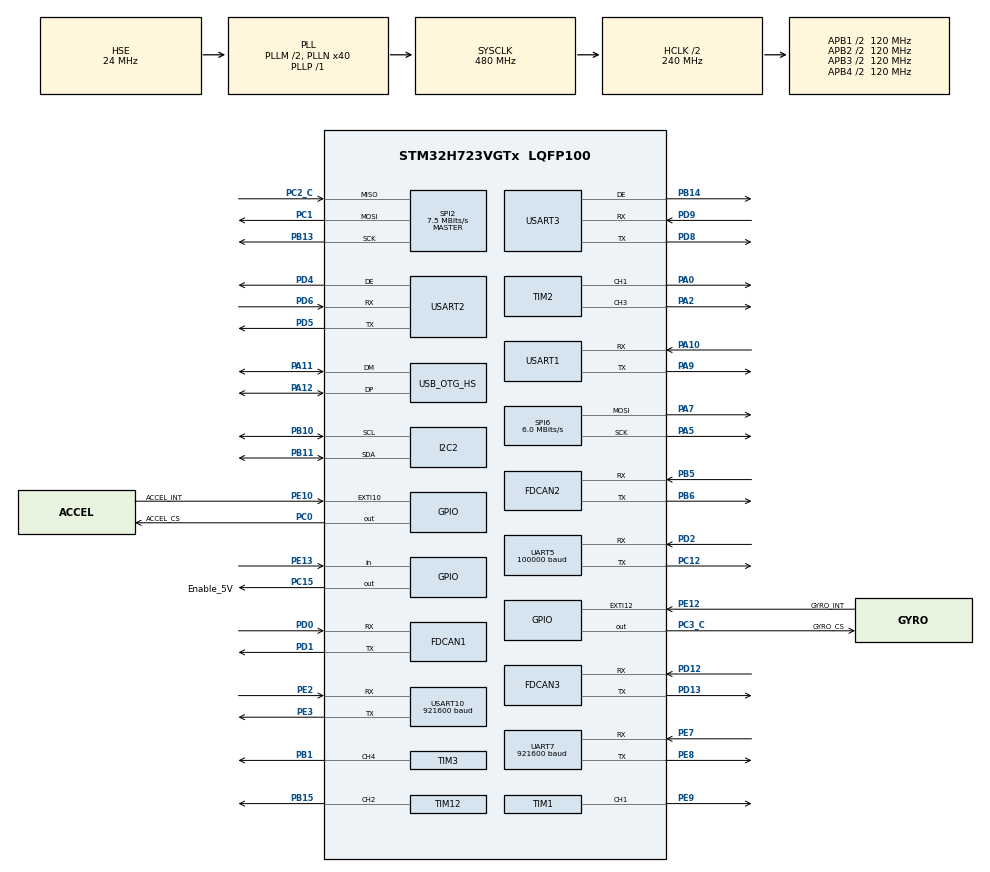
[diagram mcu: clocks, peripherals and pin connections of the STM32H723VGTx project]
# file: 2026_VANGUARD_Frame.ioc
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CORTEX_M7.AccessPermission_Spec=MPU_REGION_FULL_ACCESS
CORTEX_M7.BaseAddress_Spec=0x24000000
CORTEX_M7.CPU_DCache=Disabled
CORTEX_M7.CPU_ICache=Disabled
CORTEX_M7.DisableExec_Spec=MPU_INSTRUCTION_ACCESS_ENABLE
CORTEX_M7.IsShareable_Spec=MPU_ACCESS_NOT_SHAREABLE
CORTEX_M7.MPU_Control=MPU_PRIVILEGED_DEFAULT
CORTEX_M7.Size_Spec=MPU_REGION_SIZE_512KB
CORTEX_M7.SubRegionDisable_Spec=0x0
CORTEX_M7.TypeExtField_Spec=MPU_TEX_LEVEL1
CORTEX_M7.default_mode_Activation=0
Dma.Request0=UART7_RX
Dma.Request1=UART7_TX
Dma.Request2=SPI2_RX
Dma.Request3=SPI2_TX
Dma.Request4=UART5_RX
Dma.Request5=USART1_RX
Dma.Request6=USART1_TX
Dma.Request7=USART10_RX
Dma.SPI2_RX.2.Direction=DMA_PERIPH_TO_MEMORY
Dma.SPI2_RX.2.EventEnable=DISABLE
Dma.SPI2_RX.2.FIFOMode=DMA_FIFOMODE_DISABLE
Dma.SPI2_RX.2.Instance=DMA1_Stream2
Dma.SPI2_RX.2.MemDataAlignment=DMA_MDATAALIGN_BYTE
Dma.SPI2_RX.2.MemInc=DMA_MINC_ENABLE
Dma.SPI2_RX.2.Mode=DMA_NORMAL
Dma.SPI2_RX.2.PeriphDataAlignment=DMA_PDATAALIGN_BYTE
Dma.SPI2_RX.2.PeriphInc=DMA_PINC_DISABLE
Dma.SPI2_RX.2.Polarity=HAL_DMAMUX_REQ_GEN_RISING
Dma.SPI2_RX.2.Priority=DMA_PRIORITY_MEDIUM
Dma.SPI2_RX.2.RequestNumber=1
Dma.SPI2_RX.2.SignalID=NONE
Dma.SPI2_RX.2.SyncEnable=DISABLE
Dma.SPI2_RX.2.SyncPolarity=HAL_DMAMUX_SYNC_NO_EVENT
Dma.SPI2_RX.2.SyncRequestNumber=1
Dma.SPI2_RX.2.SyncSignalID=NONE
Dma.SPI2_TX.3.Direction=DMA_MEMORY_TO_PERIPH
Dma.SPI2_TX.3.EventEnable=DISABLE
Dma.SPI2_TX.3.FIFOMode=DMA_FIFOMODE_DISABLE
Dma.SPI2_TX.3.Instance=DMA1_Stream3
Dma.SPI2_TX.3.MemDataAlignment=DMA_MDATAALIGN_BYTE
Dma.SPI2_TX.3.MemInc=DMA_MINC_ENABLE
Dma.SPI2_TX.3.Mode=DMA_NORMAL
Dma.SPI2_TX.3.PeriphDataAlignment=DMA_PDATAALIGN_BYTE
Dma.SPI2_TX.3.PeriphInc=DMA_PINC_DISABLE
Dma.SPI2_TX.3.Polarity=HAL_DMAMUX_REQ_GEN_RISING
Dma.SPI2_TX.3.Priority=DMA_PRIORITY_LOW
Dma.SPI2_TX.3.RequestNumber=1
Dma.SPI2_TX.3.SignalID=NONE
Dma.SPI2_TX.3.SyncEnable=DISABLE
Dma.SPI2_TX.3.SyncPolarity=HAL_DMAMUX_SYNC_NO_EVENT
Dma.SPI2_TX.3.SyncRequestNumber=1
Dma.SPI2_TX.3.SyncSignalID=NONE
Dma.UART5_RX.4.Direction=DMA_PERIPH_TO_MEMORY
Dma.UART5_RX.4.EventEnable=DISABLE
Dma.UART5_RX.4.FIFOMode=DMA_FIFOMODE_DISABLE
Dma.UART5_RX.4.Instance=DMA1_Stream4
Dma.UART5_RX.4.MemDataAlignment=DMA_MDATAALIGN_BYTE
Dma.UART5_RX.4.MemInc=DMA_MINC_ENABLE
Dma.UART5_RX.4.Mode=DMA_NORMAL
Dma.UART5_RX.4.PeriphDataAlignment=DMA_PDATAALIGN_BYTE
Dma.UART5_RX.4.PeriphInc=DMA_PINC_DISABLE
Dma.UART5_RX.4.Polarity=HAL_DMAMUX_REQ_GEN_RISING
Dma.UART5_RX.4.Priority=DMA_PRIORITY_LOW
Dma.UART5_RX.4.RequestNumber=1
Dma.UART5_RX.4.SignalID=NONE
Dma.UART5_RX.4.SyncEnable=DISABLE
Dma.UART5_RX.4.SyncPolarity=HAL_DMAMUX_SYNC_NO_EVENT
Dma.UART5_RX.4.SyncRequestNumber=1
Dma.UART5_RX.4.SyncSignalID=NONE
Dma.UART7_RX.0.Direction=DMA_PERIPH_TO_MEMORY
Dma.UART7_RX.0.EventEnable=DISABLE
Dma.UART7_RX.0.FIFOMode=DMA_FIFOMODE_DISABLE
Dma.UART7_RX.0.Instance=DMA1_Stream0
Dma.UART7_RX.0.MemDataAlignment=DMA_MDATAALIGN_BYTE
Dma.UART7_RX.0.MemInc=DMA_MINC_ENABLE
Dma.UART7_RX.0.Mode=DMA_NORMAL
Dma.UART7_RX.0.PeriphDataAlignment=DMA_PDATAALIGN_BYTE
Dma.UART7_RX.0.PeriphInc=DMA_PINC_DISABLE
Dma.UART7_RX.0.Polarity=HAL_DMAMUX_REQ_GEN_RISING
Dma.UART7_RX.0.Priority=DMA_PRIORITY_LOW
Dma.UART7_RX.0.RequestNumber=1
Dma.UART7_RX.0.SignalID=NONE
Dma.UART7_RX.0.SyncEnable=DISABLE
Dma.UART7_RX.0.SyncPolarity=HAL_DMAMUX_SYNC_NO_EVENT
Dma.UART7_RX.0.SyncRequestNumber=1
Dma.UART7_RX.0.SyncSignalID=NONE
Dma.UART7_TX.1.Direction=DMA_MEMORY_TO_PERIPH
Dma.UART7_TX.1.EventEnable=DISABLE
Dma.UART7_TX.1.FIFOMode=DMA_FIFOMODE_DISABLE
Dma.UART7_TX.1.Instance=DMA1_Stream1
Dma.UART7_TX.1.MemDataAlignment=DMA_MDATAALIGN_BYTE
Dma.UART7_TX.1.MemInc=DMA_MINC_ENABLE
Dma.UART7_TX.1.Mode=DMA_NORMAL
Dma.UART7_TX.1.PeriphDataAlignment=DMA_PDATAALIGN_BYTE
Dma.UART7_TX.1.PeriphInc=DMA_PINC_DISABLE
Dma.UART7_TX.1.Polarity=HAL_DMAMUX_REQ_GEN_RISING
Dma.UART7_TX.1.Priority=DMA_PRIORITY_LOW
Dma.UART7_TX.1.RequestNumber=1
Dma.UART7_TX.1.SignalID=NONE
Dma.UART7_TX.1.SyncEnable=DISABLE
Dma.UART7_TX.1.SyncPolarity=HAL_DMAMUX_SYNC_NO_EVENT
Dma.UART7_TX.1.SyncRequestNumber=1
Dma.UART7_TX.1.SyncSignalID=NONE
Dma.USART10_RX.7.Direction=DMA_PERIPH_TO_MEMORY
Dma.USART10_RX.7.EventEnable=DISABLE
Dma.USART10_RX.7.FIFOMode=DMA_FIFOMODE_DISABLE
Dma.USART10_RX.7.Instance=DMA1_Stream7
Dma.USART10_RX.7.MemDataAlignment=DMA_MDATAALIGN_BYTE
Dma.USART10_RX.7.MemInc=DMA_MINC_ENABLE
Dma.USART10_RX.7.Mode=DMA_NORMAL
Dma.USART10_RX.7.PeriphDataAlignment=DMA_PDATAALIGN_BYTE
Dma.USART10_RX.7.PeriphInc=DMA_PINC_DISABLE
Dma.USART10_RX.7.Polarity=HAL_DMAMUX_REQ_GEN_RISING
Dma.USART10_RX.7.Priority=DMA_PRIORITY_LOW
Dma.USART10_RX.7.RequestNumber=1
Dma.USART10_RX.7.SignalID=NONE
Dma.USART10_RX.7.SyncEnable=DISABLE
Dma.USART10_RX.7.SyncPolarity=HAL_DMAMUX_SYNC_NO_EVENT
Dma.USART10_RX.7.SyncRequestNumber=1
Dma.USART10_RX.7.SyncSignalID=NONE
Dma.USART1_RX.5.Direction=DMA_PERIPH_TO_MEMORY
Dma.USART1_RX.5.EventEnable=DISABLE
Dma.USART1_RX.5.FIFOMode=DMA_FIFOMODE_DISABLE
Dma.USART1_RX.5.Instance=DMA1_Stream6
Dma.USART1_RX.5.MemDataAlignment=DMA_MDATAALIGN_BYTE
Dma.USART1_RX.5.MemInc=DMA_MINC_ENABLE
Dma.USART1_RX.5.Mode=DMA_NORMAL
Dma.USART1_RX.5.PeriphDataAlignment=DMA_PDATAALIGN_BYTE
Dma.USART1_RX.5.PeriphInc=DMA_PINC_DISABLE
Dma.USART1_RX.5.Polarity=HAL_DMAMUX_REQ_GEN_RISING
Dma.USART1_RX.5.Priority=DMA_PRIORITY_LOW
Dma.USART1_RX.5.RequestNumber=1
Dma.USART1_RX.5.SignalID=NONE
Dma.USART1_RX.5.SyncEnable=DISABLE
Dma.USART1_RX.5.SyncPolarity=HAL_DMAMUX_SYNC_NO_EVENT
Dma.USART1_RX.5.SyncRequestNumber=1
Dma.USART1_RX.5.SyncSignalID=NONE
Dma.USART1_TX.6.Direction=DMA_MEMORY_TO_PERIPH
Dma.USART1_TX.6.EventEnable=DISABLE
Dma.USART1_TX.6.FIFOMode=DMA_FIFOMODE_DISABLE
Dma.USART1_TX.6.Instance=DMA1_Stream5
Dma.USART1_TX.6.MemDataAlignment=DMA_MDATAALIGN_BYTE
Dma.USART1_TX.6.MemInc=DMA_MINC_ENABLE
Dma.USART1_TX.6.Mode=DMA_NORMAL
Dma.USART1_TX.6.PeriphDataAlignment=DMA_PDATAALIGN_BYTE
Dma.USART1_TX.6.PeriphInc=DMA_PINC_DISABLE
Dma.USART1_TX.6.Polarity=HAL_DMAMUX_REQ_GEN_RISING
Dma.USART1_TX.6.Priority=DMA_PRIORITY_LOW
Dma.USART1_TX.6.RequestNumber=1
Dma.USART1_TX.6.SignalID=NONE
Dma.USART1_TX.6.SyncEnable=DISABLE
Dma.USART1_TX.6.SyncPolarity=HAL_DMAMUX_SYNC_NO_EVENT
Dma.USART1_TX.6.SyncRequestNumber=1
Dma.USART1_TX.6.SyncSignalID=NONE
FDCAN1.AutoRetransmission=ENABLE
FDCAN1.CalculateBaudRateNominal=1000000
FDCAN1.CalculateTimeBitNominal=1000
FDCAN1.CalculateTimeQuantumNominal=200.0
FDCAN1.DataPrescaler=1
FDCAN1.DataSyncJumpWidth=5
FDCAN1.DataTimeSeg1=14
FDCAN1.DataTimeSeg2=5
FDCAN1.FrameFormat=FDCAN_FRAME_FD_NO_BRS
FDCAN1.NominalPrescaler=24
FDCAN1.NominalSyncJumpWidth=5
FDCAN1.NominalTimeSeg1=2
FDCAN1.NominalTimeSeg2=2
FDCAN1.ProtocolException=DISABLE
FDCAN1.RxFifo0ElmtsNbr=16
FDCAN1.RxFifo1ElmtsNbr=16
FDCAN1.StdFiltersNbr=42
FDCAN1.TxBuffersNbr=0
FDCAN1.TxFifoQueueElmtsNbr=32
FDCAN1.TxFifoQueueMode=FDCAN_TX_FIFO_OPERATION
FDCAN2.AutoRetransmission=ENABLE
FDCAN2.CalculateBaudRateNominal=1000000
FDCAN2.CalculateTimeBitNominal=1000
FDCAN2.CalculateTimeQuantumNominal=200.0
FDCAN2.DataSyncJumpWidth=5
FDCAN2.DataTimeSeg1=14
FDCAN2.DataTimeSeg2=5
FDCAN2.FrameFormat=FDCAN_FRAME_FD_NO_BRS
FDCAN2.MessageRAMOffset=853
FDCAN2.NominalPrescaler=24
FDCAN2.NominalSyncJumpWidth=5
FDCAN2.NominalTimeSeg1=2
FDCAN2.NominalTimeSeg2=2
FDCAN2.ProtocolException=DISABLE
FDCAN2.RxFifo0ElmtsNbr=16
FDCAN2.RxFifo1ElmtsNbr=16
FDCAN2.StdFiltersNbr=42
FDCAN2.TxFifoQueueElmtsNbr=32
FDCAN3.AutoRetransmission=ENABLE
FDCAN3.CalculateBaudRateNominal=1000000
FDCAN3.CalculateTimeBitNominal=1000
FDCAN3.CalculateTimeQuantumNominal=25.0
FDCAN3.DataPrescaler=3
FDCAN3.DataSyncJumpWidth=10
FDCAN3.DataTimeSeg1=29
FDCAN3.DataTimeSeg2=10
FDCAN3.MessageRAMOffset=1708
FDCAN3.NominalPrescaler=3
FDCAN3.NominalSyncJumpWidth=10
FDCAN3.NominalTimeSeg1=29
FDCAN3.NominalTimeSeg2=10
FDCAN3.ProtocolException=DISABLE
FDCAN3.RxFifo0ElmtsNbr=16
FDCAN3.RxFifo1ElmtsNbr=16
FDCAN3.StdFiltersNbr=42
FDCAN3.TxFifoQueueElmtsNbr=32
FREERTOS.Tasks01=defaultTask,24,128,StartDefaultTask,Default,NULL,Dynamic,NULL,NULL
I2C2.Timing=0x307075B1
Mcu.Family=STM32H7
Mcu.Name=STM32H723VGTx
Mcu.Package=LQFP100
NVIC.DMA1_Stream0_IRQn=true\:5\:0\:false\:false\:true\:true\:false\:true\:true
NVIC.DMA1_Stream1_IRQn=true\:5\:0\:false\:false\:true\:true\:false\:true\:true
NVIC.DMA1_Stream2_IRQn=true\:5\:0\:false\:false\:true\:true\:false\:true\:true
NVIC.DMA1_Stream3_IRQn=true\:5\:0\:false\:false\:true\:true\:false\:true\:true
NVIC.DMA1_Stream4_IRQn=true\:5\:0\:false\:false\:true\:true\:false\:true\:true
NVIC.DMA1_Stream5_IRQn=true\:5\:0\:false\:false\:true\:true\:false\:true\:true
NVIC.DMA1_Stream6_IRQn=true\:5\:0\:false\:false\:true\:true\:false\:true\:true
NVIC.DMA1_Stream7_IRQn=true\:5\:0\:false\:false\:true\:true\:false\:true\:true
NVIC.FDCAN1_IT0_IRQn=true\:5\:0\:false\:false\:true\:true\:true\:true\:true
NVIC.FDCAN1_IT1_IRQn=true\:5\:0\:false\:false\:true\:true\:true\:true\:true
NVIC.FDCAN2_IT0_IRQn=true\:5\:0\:false\:false\:true\:true\:true\:true\:true
NVIC.FDCAN2_IT1_IRQn=true\:5\:0\:false\:false\:true\:true\:true\:true\:true
NVIC.FDCAN3_IT0_IRQn=true\:5\:0\:false\:false\:true\:true\:true\:true\:true
NVIC.FDCAN3_IT1_IRQn=true\:5\:0\:false\:false\:true\:true\:true\:true\:true
NVIC.OTG_HS_IRQn=true\:5\:0\:false\:false\:true\:true\:false\:true\:true
NVIC.PriorityGroup=NVIC_PRIORITYGROUP_4
NVIC.RNG_IRQn=true\:5\:0\:false\:false\:true\:true\:true\:true\:true
NVIC.SPI2_IRQn=true\:5\:0\:false\:false\:true\:true\:true\:true\:true
NVIC.TIM7_IRQn=true\:15\:0\:false\:false\:true\:false\:false\:true\:true
NVIC.TimeBase=TIM7_IRQn
NVIC.TimeBaseIP=TIM7
NVIC.UART5_IRQn=true\:5\:0\:false\:false\:true\:true\:true\:true\:true
NVIC.UART7_IRQn=true\:5\:0\:false\:false\:true\:true\:true\:true\:true
NVIC.USART10_IRQn=true\:5\:0\:false\:false\:true\:true\:true\:true\:true
NVIC.USART1_IRQn=true\:5\:0\:false\:false\:true\:true\:true\:true\:true
NVIC.USART2_IRQn=true\:5\:0\:false\:false\:true\:true\:true\:true\:true
NVIC.USART3_IRQn=true\:5\:0\:false\:false\:true\:true\:true\:true\:true
PA0.Signal=S_TIM2_CH1_ETR
PA10.Mode=Asynchronous
PA10.Signal=USART1_RX
PA11.Mode=Device_Only_FS
PA11.Signal=USB_OTG_HS_DM
PA12.Mode=Device_Only_FS
PA12.Signal=USB_OTG_HS_DP
PA13(JTMS/SWDIO).Mode=Serial_Wire
PA13(JTMS/SWDIO).Signal=DEBUG_JTMS-SWDIO
PA14(JTCK/SWCLK).Mode=Serial_Wire
PA14(JTCK/SWCLK).Signal=DEBUG_JTCK-SWCLK
PA2.Signal=S_TIM2_CH3
PA5.Mode=TX_Only_Simplex_Unidirect_Master
PA5.Signal=SPI6_SCK
PA7.Mode=TX_Only_Simplex_Unidirect_Master
PA7.Signal=SPI6_MOSI
PA9.Mode=Asynchronous
PA9.Signal=USART1_TX
PB1.Signal=S_TIM3_CH4
PB10.Mode=I2C
PB10.Signal=I2C2_SCL
PB11.Mode=I2C
PB11.Signal=I2C2_SDA
PB13.GPIO_Speed=GPIO_SPEED_FREQ_VERY_HIGH
PB13.Mode=Full_Duplex_Master
PB13.Signal=SPI2_SCK
PB14.Mode=Hardware Flow Control (RS485)
PB14.Signal=USART3_DE
PB15.Signal=S_TIM12_CH2
PB5.GPIO_Speed=GPIO_SPEED_FREQ_HIGH
PB5.Mode=FDCAN_Activate
PB5.Signal=FDCAN2_RX
PB6.GPIO_Speed=GPIO_SPEED_FREQ_HIGH
PB6.Mode=FDCAN_Activate
PB6.Signal=FDCAN2_TX
PC0.GPIO_Label=ACCEL_CS
PC0.GPIO_PuPd=GPIO_PULLUP
PC0.GPIO_Speed=GPIO_SPEED_FREQ_HIGH
PC0.PinState=GPIO_PIN_SET
PC0.Signal=GPIO_Output
PC1.GPIO_Speed=GPIO_SPEED_FREQ_VERY_HIGH
PC1.Mode=Full_Duplex_Master
PC1.Signal=SPI2_MOSI
PC12.Mode=Asynchronous
PC12.Signal=UART5_TX
PC15-OSC32_OUT.GPIO_Label=Enable_5V
PC15-OSC32_OUT.Signal=GPIO_Output
PC2_C.GPIO_Speed=GPIO_SPEED_FREQ_VERY_HIGH
PC2_C.Mode=Full_Duplex_Master
PC2_C.Signal=SPI2_MISO
PC3_C.GPIO_Label=GYRO_CS
PC3_C.GPIO_PuPd=GPIO_PULLUP
PC3_C.GPIO_Speed=GPIO_SPEED_FREQ_HIGH
PC3_C.PinState=GPIO_PIN_SET
PC3_C.Signal=GPIO_Output
PD0.GPIO_Speed=GPIO_SPEED_FREQ_HIGH
PD0.Mode=FDCAN_Activate
PD0.Signal=FDCAN1_RX
PD1.GPIO_Speed=GPIO_SPEED_FREQ_HIGH
PD1.Mode=FDCAN_Activate
PD1.Signal=FDCAN1_TX
PD12.GPIO_Speed=GPIO_SPEED_FREQ_HIGH
PD12.Mode=FDCAN_Activate
PD12.Signal=FDCAN3_RX
PD13.GPIO_Speed=GPIO_SPEED_FREQ_HIGH
PD13.Mode=FDCAN_Activate
PD13.Signal=FDCAN3_TX
PD2.Mode=Asynchronous
PD2.Signal=UART5_RX
PD4.Mode=Hardware Flow Control (RS485)
PD4.Signal=USART2_DE
PD5.Mode=Asynchronous
PD5.Signal=USART2_TX
PD6.Mode=Asynchronous
PD6.Signal=USART2_RX
PD8.Mode=Asynchronous
PD8.Signal=USART3_TX
PD9.Mode=Asynchronous
PD9.Signal=USART3_RX
PE10.GPIO_Label=ACCEL_INT
PE10.GPIO_ModeDefaultEXTI=GPIO_MODE_IT_FALLING
PE10.GPIO_PuPd=GPIO_NOPULL
PE10.Signal=GPXTI10
PE12.GPIO_Label=GYRO_INT
PE12.GPIO_ModeDefaultEXTI=GPIO_MODE_IT_FALLING
PE12.GPIO_PuPd=GPIO_NOPULL
PE12.Signal=GPXTI12
PE13.GPIO_PuPd=GPIO_PULLDOWN
PE13.Signal=GPIO_Input
PE2.Mode=Asynchronous
PE2.Signal=USART10_RX
PE3.Mode=Asynchronous
PE3.Signal=USART10_TX
PE7.Mode=Asynchronous
PE7.Signal=UART7_RX
PE8.Mode=Asynchronous
PE8.Signal=UART7_TX
PE9.Signal=S_TIM1_CH1
PH0-OSC_IN.Mode=HSE-External-Oscillator
PH0-OSC_IN.Signal=RCC_OSC_IN
PH1-OSC_OUT.Mode=HSE-External-Oscillator
PH1-OSC_OUT.Signal=RCC_OSC_OUT
ProjectManager.HeapSize=0x4000
ProjectManager.StackSize=0x4000
ProjectManager.TargetToolchain=MDK-ARM V5.32
RCC.ADCFreq_Value=240000000
RCC.APB1Freq_Value=120000000
RCC.APB2Freq_Value=120000000
RCC.APB3Freq_Value=120000000
RCC.APB4Freq_Value=120000000
RCC.CortexFreq_Value=480000000
RCC.D1PPRE=RCC_APB3_DIV2
RCC.D2PPRE1=RCC_APB1_DIV2
RCC.D2PPRE2=RCC_APB2_DIV2
RCC.D3PPRE=RCC_APB4_DIV2
RCC.DIVM1=2
RCC.DIVM2=2
RCC.DIVN1=40
RCC.DIVN2=40
RCC.DIVP1=1
RCC.DIVQ1=4
RCC.DIVQ2=20
RCC.HCLKFreq_Value=240000000
RCC.HPRE=RCC_HCLK_DIV2
RCC.HSE_VALUE=24000000
RCC.PLLSourceVirtual=RCC_PLLSOURCE_HSE
RCC.SPI6CLockSelection=RCC_SPI6CLKSOURCE_PLL2
RCC.SYSCLKFreq_VALUE=480000000
RCC.SYSCLKSource=RCC_SYSCLKSOURCE_PLLCLK
RCC.USBCLockSelection=RCC_USBCLKSOURCE_HSI48
RCC.USBFreq_Value=48000000
SH.S_TIM12_CH2.0=TIM12_CH2,PWM Generation2 CH2
SH.S_TIM1_CH1.0=TIM1_CH1,PWM Generation1 CH1
SH.S_TIM2_CH1_ETR.0=TIM2_CH1,PWM Generation1 CH1
SH.S_TIM2_CH3.0=TIM2_CH3,PWM Generation3 CH3
SH.S_TIM3_CH4.0=TIM3_CH4,PWM Generation4 CH4
SPI2.BaudRatePrescaler=SPI_BAUDRATEPRESCALER_16
SPI2.CLKPhase=SPI_PHASE_2EDGE
SPI2.CLKPolarity=SPI_POLARITY_HIGH
SPI2.CalculateBaudRate=7.5 MBits/s
SPI2.DataSize=SPI_DATASIZE_8BIT
SPI2.Direction=SPI_DIRECTION_2LINES
SPI2.Mode=SPI_MODE_MASTER
SPI2.VirtualType=VM_MASTER
SPI6.BaudRatePrescaler=SPI_BAUDRATEPRESCALER_4
SPI6.CLKPhase=SPI_PHASE_2EDGE
SPI6.CalculateBaudRate=6.0 MBits/s
SPI6.DataSize=SPI_DATASIZE_8BIT
SPI6.Direction=SPI_DIRECTION_2LINES_TXONLY
SPI6.Mode=SPI_MODE_MASTER
SPI6.VirtualType=VM_MASTER
STMicroelectronics.X-CUBE-ALGOBUILD.1.4.0.LibraryCcDSPOoLibraryJjDSPOoLibrary=true
TIM1.Channel-PWM\ Generation1\ CH1=TIM_CHANNEL_1
TIM12.Channel-PWM\ Generation2\ CH2=TIM_CHANNEL_2
TIM12.Period=2000-1
TIM12.Prescaler=24-1
TIM12.Pulse-PWM\ Generation2\ CH2=1000
TIM2.Channel-PWM\ Generation1\ CH1=TIM_CHANNEL_1
TIM2.Channel-PWM\ Generation3\ CH3=TIM_CHANNEL_3
TIM3.Channel-PWM\ Generation4\ CH4=TIM_CHANNEL_4
TIM3.Period=20000-1
TIM3.Prescaler=24-1
UART5.BaudRate=100000
UART5.Mode=MODE_RX
UART5.OverrunDisableParam=UART_ADVFEATURE_OVERRUN_DISABLE
UART5.Parity=PARITY_EVEN
UART5.StopBits=UART_STOPBITS_2
UART5.WordLength=WORDLENGTH_9B
UART7.BaudRate=921600
USART1.VirtualMode-Asynchronous=VM_ASYNC
USART10.BaudRate=921600
USART10.VirtualMode=VM_ASYNC
USART2.VirtualMode-Asynchronous=VM_ASYNC
USART2.VirtualMode-Hardware\ Flow\ Control\ (RS485)=VM_ASYNC
USART3.VirtualMode-Asynchronous=VM_ASYNC
USART3.VirtualMode-Hardware\ Flow\ Control\ (RS485)=VM_ASYNC
USB_DEVICE.CLASS_NAME_HS=CDC
USB_DEVICE.VirtualMode=Cdc
USB_DEVICE.VirtualModeHS=Cdc_HS
USB_OTG_HS.VirtualMode-Device_Only_FS=Device_Only_FS
VP_FREERTOS_VS_CMSIS_V2.Mode=CMSIS_V2
VP_MEMORYMAP_VS_MEMORYMAP.Mode=CurAppReg
VP_RNG_VS_RNG.Mode=RNG_Activate
VP_STMicroelectronics.X-CUBE-ALGOBUILD_VS_DSPOoLibraryJjLibrary_1.4.0_1.4.0.Mode=DSPOoLibraryJjLibrary
VP_SYS_VS_tim7.Mode=TIM7
VP_USB_DEVICE_VS_USB_DEVICE_CDC_HS.Mode=CDC_HS
board=custom

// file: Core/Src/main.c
/* USER CODE BEGIN Header */
/**
  ******************************************************************************
  * @file           : main.c
  * @brief          : Main program body
  ******************************************************************************
  * @attention
  *
  * Copyright (c) 2025 STMicroelectronics.
  * All rights reserved.
  *
  * This software is licensed under terms that can be found in the LICENSE file
  * in the root directory of this software component.
  * If no LICENSE file comes with this software, it is provided AS-IS.
  *
  ******************************************************************************
  */
/* USER CODE END Header */
#include "main.h"
#include "cmsis_os.h"
#include "dma.h"
#include "fdcan.h"
#include "i2c.h"
#include "rng.h"
#include "spi.h"
#include "tim.h"
#include "usart.h"
#include "usb_device.h"
#include "gpio.h"

/* USER CODE BEGIN Includes */
#include "robot_frame_init.h"
/* USER CODE END Includes */

void SystemClock_Config(void);
static void MPU_Config(void);
void MX_FREERTOS_Init(void);

int main(void)
{

  /* MPU Configuration--------------------------------------------------------*/
  MPU_Config();

  /* MCU Configuration--------------------------------------------------------*/

  /* Reset of all peripherals, Initializes the Flash interface and the Systick. */
  HAL_Init();

  /* Configure the system clock */
  SystemClock_Config();

  /* Initialize all configured peripherals */
  MX_GPIO_Init();
  MX_DMA_Init();
  MX_TIM1_Init();
  MX_TIM2_Init();
  MX_UART5_Init();
  MX_UART7_Init();
  MX_USART1_UART_Init();
  MX_USART2_UART_Init();
  MX_USART3_UART_Init();
  MX_USART10_UART_Init();
  MX_FDCAN1_Init();
  MX_FDCAN2_Init();
  MX_FDCAN3_Init();
  MX_SPI2_Init();
  MX_SPI6_Init();
  MX_TIM3_Init();
  MX_TIM12_Init();
  MX_I2C2_Init();
  MX_RNG_Init();
  /* USER CODE BEGIN 2 */
//  HAL_Delay(10);
  Robot_Frame_Init();
  /* USER CODE END 2 */

  /* Init scheduler */
  osKernelInitialize();  /* Call init function for freertos objects (in cmsis_os2.c) */
  MX_FREERTOS_Init();

  /* Start scheduler */
  osKernelStart();

  /* We should never get here as control is now taken by the scheduler */

  /* Infinite loop */
  while (1)
  {

  }
}

void SystemClock_Config(void)
{
  RCC_OscInitTypeDef RCC_OscInitStruct = {0};
  RCC_ClkInitTypeDef RCC_ClkInitStruct = {0};

  /** Supply configuration update enable
  */
  HAL_PWREx_ConfigSupply(PWR_LDO_SUPPLY);

  /** Configure the main internal regulator output voltage
  */
  __HAL_PWR_VOLTAGESCALING_CONFIG(PWR_REGULATOR_VOLTAGE_SCALE0);

  while(!__HAL_PWR_GET_FLAG(PWR_FLAG_VOSRDY)) {}

  /** Initializes the RCC Oscillators according to the specified parameters
  * in the RCC_OscInitTypeDef structure.
  */
  RCC_OscInitStruct.OscillatorType = RCC_OSCILLATORTYPE_HSI48|RCC_OSCILLATORTYPE_HSE;
  RCC_OscInitStruct.HSEState = RCC_HSE_ON;
  RCC_OscInitStruct.HSI48State = RCC_HSI48_ON;
  RCC_OscInitStruct.PLL.PLLState = RCC_PLL_ON;
  RCC_OscInitStruct.PLL.PLLSource = RCC_PLLSOURCE_HSE;
  RCC_OscInitStruct.PLL.PLLM = 2;
  RCC_OscInitStruct.PLL.PLLN = 40;
  RCC_OscInitStruct.PLL.PLLP = 1;
  RCC_OscInitStruct.PLL.PLLQ = 4;
  RCC_OscInitStruct.PLL.PLLR = 2;
  RCC_OscInitStruct.PLL.PLLRGE = RCC_PLL1VCIRANGE_3;
  RCC_OscInitStruct.PLL.PLLVCOSEL = RCC_PLL1VCOWIDE;
  RCC_OscInitStruct.PLL.PLLFRACN = 0;
  if (HAL_RCC_OscConfig(&RCC_OscInitStruct) != HAL_OK)
  {
    Error_Handler();
  }

  /** Initializes the CPU, AHB and APB buses clocks
  */
  RCC_ClkInitStruct.ClockType = RCC_CLOCKTYPE_HCLK|RCC_CLOCKTYPE_SYSCLK
                              |RCC_CLOCKTYPE_PCLK1|RCC_CLOCKTYPE_PCLK2
                              |RCC_CLOCKTYPE_D3PCLK1|RCC_CLOCKTYPE_D1PCLK1;
  RCC_ClkInitStruct.SYSCLKSource = RCC_SYSCLKSOURCE_PLLCLK;
  RCC_ClkInitStruct.SYSCLKDivider = RCC_SYSCLK_DIV1;
  RCC_ClkInitStruct.AHBCLKDivider = RCC_HCLK_DIV2;
  RCC_ClkInitStruct.APB3CLKDivider = RCC_APB3_DIV2;
  RCC_ClkInitStruct.APB1CLKDivider = RCC_APB1_DIV2;
  RCC_ClkInitStruct.APB2CLKDivider = RCC_APB2_DIV2;
  RCC_ClkInitStruct.APB4CLKDivider = RCC_APB4_DIV2;

  if (HAL_RCC_ClockConfig(&RCC_ClkInitStruct, FLASH_LATENCY_3) != HAL_OK)
  {
    Error_Handler();
  }
}

 /* MPU Configuration */

void MPU_Config(void)
{

  /* Disables the MPU */
  HAL_MPU_Disable();

  /* Enables the MPU */
  HAL_MPU_Enable(MPU_PRIVILEGED_DEFAULT);

}

void HAL_TIM_PeriodElapsedCallback(TIM_HandleTypeDef *htim)
{
  if (htim->Instance == TIM7)
  {
    HAL_IncTick();
  }
}

void Error_Handler(void)
{
  __disable_irq();
  while (1)
  {
  }
}

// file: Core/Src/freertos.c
/* USER CODE BEGIN Header */
/**
  ******************************************************************************
  * File Name          : freertos.c
  * Description        : Code for freertos applications
  ******************************************************************************
  * @attention
  *
  * Copyright (c) 2025 STMicroelectronics.
  * All rights reserved.
  *
  * This software is licensed under terms that can be found in the LICENSE file
  * in the root directory of this software component.
  * If no LICENSE file comes with this software, it is provided AS-IS.
  *
  ******************************************************************************
  */
/* USER CODE END Header */

#include "FreeRTOS.h"
#include "task.h"
#include "main.h"
#include "cmsis_os.h"

/* USER CODE BEGIN Includes */
/******************************这里是塞💩的地方，请随便塞💩*****************************/
#include "rng.h"
#include "robot_frame_init.h"
#include "buzzer.h"
#include "ws2812.h"
#include "wfly_control.h"

#include "referee_task.h"

/******************************这里是塞💩的地方，请随便塞💩*****************************/
/* USER CODE END Includes */

/* Definitions for defaultTask */
osThreadId_t defaultTaskHandle;
const osThreadAttr_t defaultTask_attributes = {
  .name = "defaultTask",
  .stack_size = 128 * 4,
  .priority = (osPriority_t) osPriorityNormal,
};

/* USER CODE BEGIN FunctionPrototypes */
osThreadId_t UI_TaskHandle;
uint32_t UI_TaskBuffer[512];
StaticTask_t UI_TaskControlBlock;
const osThreadAttr_t UI_Task_attributes = {
    .name = "UI_Task",
    .cb_mem = &UI_TaskControlBlock,
    .cb_size = sizeof(UI_TaskControlBlock),
    .stack_mem = &UI_TaskBuffer[0],
    .stack_size = sizeof(UI_TaskBuffer),
    .priority = (osPriority_t)osPriorityNormal,
};

void Start_UI_Task(void *argument);

/* USER CODE END FunctionPrototypes */

void StartDefaultTask(void *argument);

extern void MX_USB_DEVICE_Init(void);
void MX_FREERTOS_Init(void); /* (MISRA C 2004 rule 8.1) */

void MX_FREERTOS_Init(void) {

  /* Create the thread(s) */
  /* creation of defaultTask */
  defaultTaskHandle = osThreadNew(StartDefaultTask, NULL, &defaultTask_attributes);

  UI_TaskHandle = osThreadNew(Start_UI_Task, NULL, &UI_Task_attributes);

}

/* USER CODE BEGIN Header_StartDefaultTask */
/**
  * @brief  Function implementing the defaultTask thread.
  * @param  argument: Not used
  * @retval None
  */
/******************************这里是塞💩的地方，请随便塞💩*****************************/
//extern RC_ctrl_t *rc_ctl;
uint32_t beat = 0;
/* USER CODE END Header_StartDefaultTask */
void StartDefaultTask(void *argument)
{
  /* init code for USB_DEVICE */
  MX_USB_DEVICE_Init();
  /* USER CODE BEGIN StartDefaultTask */
	WS2812_Control(ws2812_instance, GREEN_WS2812_COLOR);
	Buzzer_Play(StartUP_sound, 0);
	osDelay(1500);
  /* Infinite loop */
  for(;;)
  {
    static uint8_t music_lock = 0;
//    if(rc_ctl->online == 0)
//    {
//        if(music_lock == 0)
//        {
//            Buzzer_Play(No_RC_sound, 0);
//            music_lock = 1;
//        }
//    }
//    else if(rc_ctl->online == 1)
//    {
//        if(music_lock == 1)
//        {
//            Buzzer_Play(Yes_RC_sound, 0);
//            music_lock = 0;
//        }
//    }

		beat++;
		if((beat % 120000) == 0)
		{
			Buzzer_Play(Super_Mario_sound, 0);
		}
		else if((beat % 30000) == 0)
		{
			Buzzer_Play(Heartbeat_sound, 0);
		}
		else if((beat % 55555) == 0)
		{
			Buzzer_Play(Call_Airsupport_sound, 0);
		}

//有💩
//    uint32_t rand_data = 0;
//    HAL_RNG_GenerateRandomNumber(&hrng, (uint32_t*)&rand_data);
//
//		if(rand_data == 0xFFFFFFFF)
//		{
//			Buzzer_Play(Call_Airsupport_sound, 0);
//		}

    osDelay(1);
  }
  /* USER CODE END StartDefaultTask */
}

/* USER CODE BEGIN Application */
/******************************这里是塞💩的地方，请随便塞💩*****************************/

void Start_UI_Task(void *argument)
{
  /* USER CODE BEGIN Start_UI_Task */
  osDelay(1500);
  User_UI_Init();
  /* Infinite loop */
  for (;;)
  {

    if (rc_vt03->key->z)
    {
      User_UI_Init();
      osDelay(910);
    }

    UI_Task();
  }
  /* USER CODE END Start_UI_Task */
}

/* USER CODE END Application */
